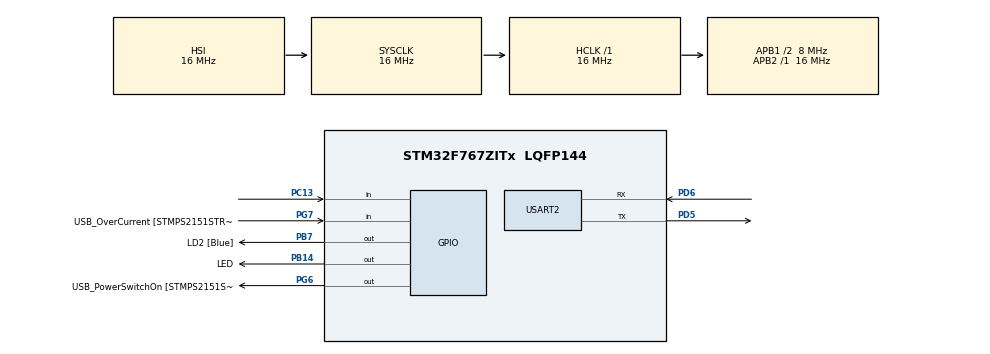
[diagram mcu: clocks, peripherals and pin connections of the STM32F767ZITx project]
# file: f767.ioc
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Mcu.Family=STM32F7
Mcu.Name=STM32F767ZITx
Mcu.Package=LQFP144
NVIC.PriorityGroup=NVIC_PRIORITYGROUP_4
NVIC.TIM1_UP_TIM10_IRQn=true\:0\:0\:false\:false\:true\:true\:true
PA1.GPIO_Label=RMII_REF_CLK [LAN8742A-CZ-TR_REFCLK0]
PA1.Signal=ETH_REF_CLK
PA10.GPIO_Label=USB_ID
PA10.Signal=USB_OTG_FS_ID
PA11.GPIO_Label=USB_DM
PA11.Signal=USB_OTG_FS_DM
PA12.GPIO_Label=USB_DP
PA12.Signal=USB_OTG_FS_DP
PA13.GPIO_Label=TMS
PA13.Mode=Serial_Wire
PA13.Signal=SYS_JTMS-SWDIO
PA14.GPIO_Label=TCK
PA14.Mode=Serial_Wire
PA14.Signal=SYS_JTCK-SWCLK
PA2.GPIO_Label=RMII_MDIO [LAN8742A-CZ-TR_MDIO]
PA2.Signal=ETH_MDIO
PA7.GPIO_Label=RMII_CRS_DV [LAN8742A-CZ-TR_CRS_DV]
PA7.Signal=ETH_CRS_DV
PA8.GPIO_Label=USB_SOF [TP1]
PA8.Signal=USB_OTG_FS_SOF
PA9.GPIO_Label=USB_VBUS
PA9.Signal=USB_OTG_FS_VBUS
PB13.GPIO_Label=RMII_TXD1 [LAN8742A-CZ-TR_TXD1]
PB13.Signal=ETH_TXD1
PB14.GPIO_Label=LED
PB14.Signal=GPIO_Output
PB3.GPIO_Label=SW0
PB3.Signal=SYS_JTDO-SWO
PB7.GPIO_Label=LD2 [Blue]
PB7.Signal=GPIO_Output
PC1.GPIO_Label=RMII_MDC [LAN8742A-CZ-TR_MDC]
PC1.Signal=ETH_MDC
PC13.Signal=GPIO_Input
PC14/OSC32_IN.Mode=LSE-External-Oscillator
PC14/OSC32_IN.Signal=RCC_OSC32_IN
PC15/OSC32_OUT.Mode=LSE-External-Oscillator
PC15/OSC32_OUT.Signal=RCC_OSC32_OUT
PC4.GPIO_Label=RMII_RXD0 [LAN8742A-CZ-TR_RXD0]
PC4.Signal=ETH_RXD0
PC5.GPIO_Label=RMII_RXD1 [LAN8742A-CZ-TR_RXD1]
PC5.Signal=ETH_RXD1
PD5.Mode=Asynchronous
PD5.Signal=USART2_TX
PD6.Mode=Asynchronous
PD6.Signal=USART2_RX
PD8.GPIO_Label=STLK_RX [STM32F103CBT6_PA3]
PD8.Signal=USART3_TX
PD9.GPIO_Label=STLK_TX [STM32F103CBT6_PA2]
PD9.Signal=USART3_RX
PG11.GPIO_Label=RMII_TX_EN [LAN8742A-CZ-TR_TXEN]
PG11.Signal=ETH_TX_EN
PG13.GPIO_Label=RMII_TXD0 [LAN8742A-CZ-TR_TXD0]
PG13.Signal=ETH_TXD0
PG6.GPIO_Label=USB_PowerSwitchOn [STMPS2151STR_EN]
PG6.Signal=GPIO_Output
PG7.GPIO_Label=USB_OverCurrent [STMPS2151STR_FAULT]
PG7.Signal=GPIO_Input
PH0/OSC_IN.GPIO_Label=MCO [STM32F103CBT6_PA8]
PH0/OSC_IN.Mode=HSE-External-Clock-Source
PH0/OSC_IN.Signal=RCC_OSC_IN
PH1/OSC_OUT.Mode=HSE-External-Clock-Source
PH1/OSC_OUT.Signal=RCC_OSC_OUT
ProjectManager.HeapSize=0x200
ProjectManager.StackSize=0x400
ProjectManager.TargetToolchain=MDK-ARM V5
RCC.48MHZClocksFreq_Value=24000000
RCC.AHBFreq_Value=16000000
RCC.APB1CLKDivider=RCC_HCLK_DIV2
RCC.APB1Freq_Value=8000000
RCC.APB1TimFreq_Value=16000000
RCC.APB2Freq_Value=16000000
RCC.APB2TimFreq_Value=16000000
RCC.CortexFreq_Value=16000000
RCC.HCLKFreq_Value=16000000
RCC.HSE_VALUE=16000000
RCC.HSI_VALUE=16000000
RCC.PLLMUL=RCC_PLL_MUL9
RCC.PRESCALERUSB=RCC_USBCLKSOURCE_PLL_DIV1_5
RCC.SYSCLKFreq_VALUE=16000000
RCC.SYSCLKSourceVirtual=RCC_SYSCLKSOURCE_PLLCLK
RCC.USBFreq_Value=96000000
RCC.VCOOutputFreq_Value=192000000
TIM1.Period=1000
TIM1.Prescaler=16000
USART2.VirtualMode-Asynchronous=VM_ASYNC
VP_TIM1_VS_ClockSourceINT.Mode=Internal
board=NUCLEO-F767ZI

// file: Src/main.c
/* USER CODE BEGIN Header */
/**
  ******************************************************************************
  * @file           : main.c
  * @brief          : Main program body
  ******************************************************************************
  * @attention
  *
  * <h2><center>&copy; Copyright (c) 2019 STMicroelectronics.
  * All rights reserved.</center></h2>
  *
  * This software component is licensed by ST under BSD 3-Clause license,
  * the "License"; You may not use this file except in compliance with the
  * License. You may obtain a copy of the License at:
  *                        opensource.org/licenses/BSD-3-Clause
  *
  ******************************************************************************
  */
/* USER CODE END Header */

#include "main.h"

/* USER CODE BEGIN Includes */
#include <string.h>
#include <stdarg.h>
#include <stdio.h>
/* USER CODE END Includes */

TIM_HandleTypeDef htim1;

UART_HandleTypeDef huart2;

void SystemClock_Config(void);
static void MX_GPIO_Init(void);
static void MX_USART2_UART_Init(void);
static void MX_TIM1_Init(void);

/* USER CODE BEGIN 0 */
uint8_t a = 0;

void UART_Printf(const char* fmt, ...) {
    char buff[256];
    va_list args;
    va_start(args, fmt);
    vsnprintf(buff, sizeof(buff), fmt, args);
    HAL_UART_Transmit(&huart2, (uint8_t*)buff, strlen(buff), HAL_MAX_DELAY);
    va_end(args);
}

void HAL_TIM_PeriodElapsedCallback(TIM_HandleTypeDef *htim)
{
	HAL_GPIO_TogglePin(LED_GPIO_Port, LED_Pin);
	UART_Printf("tick:%d\n\r", HAL_GetTick());
}
/* USER CODE END 0 */

int main(void)
{

  /* MCU Configuration--------------------------------------------------------*/

  /* Reset of all peripherals, Initializes the Flash interface and the Systick. */
  HAL_Init();

  /* Configure the system clock */
  SystemClock_Config();

  /* Initialize all configured peripherals */
  MX_GPIO_Init();
  MX_USART2_UART_Init();
  MX_TIM1_Init();
  /* USER CODE BEGIN 2 */
	HAL_TIM_Base_Start_IT(&htim1);

	UART_Printf("-----Ready-----\r\n");
  /* USER CODE END 2 */

  /* Infinite loop */
  while (1)
  {

  }
}

void SystemClock_Config(void)
{
  RCC_OscInitTypeDef RCC_OscInitStruct = {0};
  RCC_ClkInitTypeDef RCC_ClkInitStruct = {0};
  RCC_PeriphCLKInitTypeDef PeriphClkInitStruct = {0};

  /** Configure LSE Drive Capability
  */
  HAL_PWR_EnableBkUpAccess();
  /** Configure the main internal regulator output voltage
  */
  __HAL_RCC_PWR_CLK_ENABLE();
  __HAL_PWR_VOLTAGESCALING_CONFIG(PWR_REGULATOR_VOLTAGE_SCALE3);
  /** Initializes the CPU, AHB and APB busses clocks
  */
  RCC_OscInitStruct.OscillatorType = RCC_OSCILLATORTYPE_HSI;
  RCC_OscInitStruct.HSIState = RCC_HSI_ON;
  RCC_OscInitStruct.HSICalibrationValue = RCC_HSICALIBRATION_DEFAULT;
  RCC_OscInitStruct.PLL.PLLState = RCC_PLL_NONE;
  if (HAL_RCC_OscConfig(&RCC_OscInitStruct) != HAL_OK)
  {
    Error_Handler();
  }
  /** Initializes the CPU, AHB and APB busses clocks
  */
  RCC_ClkInitStruct.ClockType = RCC_CLOCKTYPE_HCLK|RCC_CLOCKTYPE_SYSCLK
                              |RCC_CLOCKTYPE_PCLK1|RCC_CLOCKTYPE_PCLK2;
  RCC_ClkInitStruct.SYSCLKSource = RCC_SYSCLKSOURCE_HSI;
  RCC_ClkInitStruct.AHBCLKDivider = RCC_SYSCLK_DIV1;
  RCC_ClkInitStruct.APB1CLKDivider = RCC_HCLK_DIV2;
  RCC_ClkInitStruct.APB2CLKDivider = RCC_HCLK_DIV1;

  if (HAL_RCC_ClockConfig(&RCC_ClkInitStruct, FLASH_LATENCY_0) != HAL_OK)
  {
    Error_Handler();
  }
  PeriphClkInitStruct.PeriphClockSelection = RCC_PERIPHCLK_USART2;
  PeriphClkInitStruct.Usart2ClockSelection = RCC_USART2CLKSOURCE_PCLK1;
  if (HAL_RCCEx_PeriphCLKConfig(&PeriphClkInitStruct) != HAL_OK)
  {
    Error_Handler();
  }
}

static void MX_TIM1_Init(void)
{

  TIM_ClockConfigTypeDef sClockSourceConfig = {0};
  TIM_MasterConfigTypeDef sMasterConfig = {0};

  htim1.Instance = TIM1;
  htim1.Init.Prescaler = 16000-1;
  htim1.Init.CounterMode = TIM_COUNTERMODE_UP;
  htim1.Init.Period = 1000-1;
  htim1.Init.ClockDivision = TIM_CLOCKDIVISION_DIV1;
  htim1.Init.RepetitionCounter = 0;
  htim1.Init.AutoReloadPreload = TIM_AUTORELOAD_PRELOAD_DISABLE;
  if (HAL_TIM_Base_Init(&htim1) != HAL_OK)
  {
    Error_Handler();
  }
  sClockSourceConfig.ClockSource = TIM_CLOCKSOURCE_INTERNAL;
  if (HAL_TIM_ConfigClockSource(&htim1, &sClockSourceConfig) != HAL_OK)
  {
    Error_Handler();
  }
  sMasterConfig.MasterOutputTrigger = TIM_TRGO_RESET;
  sMasterConfig.MasterOutputTrigger2 = TIM_TRGO2_RESET;
  sMasterConfig.MasterSlaveMode = TIM_MASTERSLAVEMODE_DISABLE;
  if (HAL_TIMEx_MasterConfigSynchronization(&htim1, &sMasterConfig) != HAL_OK)
  {
    Error_Handler();
  }

}

static void MX_USART2_UART_Init(void)
{

  huart2.Instance = USART2;
  huart2.Init.BaudRate = 115200;
  huart2.Init.WordLength = UART_WORDLENGTH_8B;
  huart2.Init.StopBits = UART_STOPBITS_1;
  huart2.Init.Parity = UART_PARITY_NONE;
  huart2.Init.Mode = UART_MODE_TX_RX;
  huart2.Init.HwFlowCtl = UART_HWCONTROL_NONE;
  huart2.Init.OverSampling = UART_OVERSAMPLING_16;
  huart2.Init.OneBitSampling = UART_ONE_BIT_SAMPLE_DISABLE;
  huart2.AdvancedInit.AdvFeatureInit = UART_ADVFEATURE_NO_INIT;
  if (HAL_UART_Init(&huart2) != HAL_OK)
  {
    Error_Handler();
  }

}

static void MX_GPIO_Init(void)
{
  GPIO_InitTypeDef GPIO_InitStruct = {0};

  /* GPIO Ports Clock Enable */
  __HAL_RCC_GPIOC_CLK_ENABLE();
  __HAL_RCC_GPIOH_CLK_ENABLE();
  __HAL_RCC_GPIOA_CLK_ENABLE();
  __HAL_RCC_GPIOB_CLK_ENABLE();
  __HAL_RCC_GPIOD_CLK_ENABLE();
  __HAL_RCC_GPIOG_CLK_ENABLE();

  /*Configure GPIO pin Output Level */
  HAL_GPIO_WritePin(GPIOB, LED_Pin|LD2_Pin, GPIO_PIN_RESET);

  /*Configure GPIO pin Output Level */
  HAL_GPIO_WritePin(USB_PowerSwitchOn_GPIO_Port, USB_PowerSwitchOn_Pin, GPIO_PIN_RESET);

  /*Configure GPIO pin : PC13 */
  GPIO_InitStruct.Pin = GPIO_PIN_13;
  GPIO_InitStruct.Mode = GPIO_MODE_INPUT;
  GPIO_InitStruct.Pull = GPIO_NOPULL;
  HAL_GPIO_Init(GPIOC, &GPIO_InitStruct);

  /*Configure GPIO pins : RMII_MDC_Pin RMII_RXD0_Pin RMII_RXD1_Pin */
  GPIO_InitStruct.Pin = RMII_MDC_Pin|RMII_RXD0_Pin|RMII_RXD1_Pin;
  GPIO_InitStruct.Mode = GPIO_MODE_AF_PP;
  GPIO_InitStruct.Pull = GPIO_NOPULL;
  GPIO_InitStruct.Speed = GPIO_SPEED_FREQ_VERY_HIGH;
  GPIO_InitStruct.Alternate = GPIO_AF11_ETH;
  HAL_GPIO_Init(GPIOC, &GPIO_InitStruct);

  /*Configure GPIO pins : RMII_REF_CLK_Pin RMII_MDIO_Pin RMII_CRS_DV_Pin */
  GPIO_InitStruct.Pin = RMII_REF_CLK_Pin|RMII_MDIO_Pin|RMII_CRS_DV_Pin;
  GPIO_InitStruct.Mode = GPIO_MODE_AF_PP;
  GPIO_InitStruct.Pull = GPIO_NOPULL;
  GPIO_InitStruct.Speed = GPIO_SPEED_FREQ_VERY_HIGH;
  GPIO_InitStruct.Alternate = GPIO_AF11_ETH;
  HAL_GPIO_Init(GPIOA, &GPIO_InitStruct);

  /*Configure GPIO pin : RMII_TXD1_Pin */
  GPIO_InitStruct.Pin = RMII_TXD1_Pin;
  GPIO_InitStruct.Mode = GPIO_MODE_AF_PP;
  GPIO_InitStruct.Pull = GPIO_NOPULL;
  GPIO_InitStruct.Speed = GPIO_SPEED_FREQ_VERY_HIGH;
  GPIO_InitStruct.Alternate = GPIO_AF11_ETH;
  HAL_GPIO_Init(RMII_TXD1_GPIO_Port, &GPIO_InitStruct);

  /*Configure GPIO pins : LED_Pin LD2_Pin */
  GPIO_InitStruct.Pin = LED_Pin|LD2_Pin;
  GPIO_InitStruct.Mode = GPIO_MODE_OUTPUT_PP;
  GPIO_InitStruct.Pull = GPIO_NOPULL;
  GPIO_InitStruct.Speed = GPIO_SPEED_FREQ_LOW;
  HAL_GPIO_Init(GPIOB, &GPIO_InitStruct);

  /*Configure GPIO pins : STLK_RX_Pin STLK_TX_Pin */
  GPIO_InitStruct.Pin = STLK_RX_Pin|STLK_TX_Pin;
  GPIO_InitStruct.Mode = GPIO_MODE_AF_PP;
  GPIO_InitStruct.Pull = GPIO_NOPULL;
  GPIO_InitStruct.Speed = GPIO_SPEED_FREQ_VERY_HIGH;
  GPIO_InitStruct.Alternate = GPIO_AF7_USART3;
  HAL_GPIO_Init(GPIOD, &GPIO_InitStruct);

  /*Configure GPIO pin : USB_PowerSwitchOn_Pin */
  GPIO_InitStruct.Pin = USB_PowerSwitchOn_Pin;
  GPIO_InitStruct.Mode = GPIO_MODE_OUTPUT_PP;
  GPIO_InitStruct.Pull = GPIO_NOPULL;
  GPIO_InitStruct.Speed = GPIO_SPEED_FREQ_LOW;
  HAL_GPIO_Init(USB_PowerSwitchOn_GPIO_Port, &GPIO_InitStruct);

  /*Configure GPIO pin : USB_OverCurrent_Pin */
  GPIO_InitStruct.Pin = USB_OverCurrent_Pin;
  GPIO_InitStruct.Mode = GPIO_MODE_INPUT;
  GPIO_InitStruct.Pull = GPIO_NOPULL;
  HAL_GPIO_Init(USB_OverCurrent_GPIO_Port, &GPIO_InitStruct);

  /*Configure GPIO pins : USB_SOF_Pin USB_ID_Pin USB_DM_Pin USB_DP_Pin */
  GPIO_InitStruct.Pin = USB_SOF_Pin|USB_ID_Pin|USB_DM_Pin|USB_DP_Pin;
  GPIO_InitStruct.Mode = GPIO_MODE_AF_PP;
  GPIO_InitStruct.Pull = GPIO_NOPULL;
  GPIO_InitStruct.Speed = GPIO_SPEED_FREQ_VERY_HIGH;
  GPIO_InitStruct.Alternate = GPIO_AF10_OTG_FS;
  HAL_GPIO_Init(GPIOA, &GPIO_InitStruct);

  /*Configure GPIO pin : USB_VBUS_Pin */
  GPIO_InitStruct.Pin = USB_VBUS_Pin;
  GPIO_InitStruct.Mode = GPIO_MODE_INPUT;
  GPIO_InitStruct.Pull = GPIO_NOPULL;
  HAL_GPIO_Init(USB_VBUS_GPIO_Port, &GPIO_InitStruct);

  /*Configure GPIO pins : RMII_TX_EN_Pin RMII_TXD0_Pin */
  GPIO_InitStruct.Pin = RMII_TX_EN_Pin|RMII_TXD0_Pin;
  GPIO_InitStruct.Mode = GPIO_MODE_AF_PP;
  GPIO_InitStruct.Pull = GPIO_NOPULL;
  GPIO_InitStruct.Speed = GPIO_SPEED_FREQ_VERY_HIGH;
  GPIO_InitStruct.Alternate = GPIO_AF11_ETH;
  HAL_GPIO_Init(GPIOG, &GPIO_InitStruct);

}

void Error_Handler(void)
{
}

/************************ (C) COPYRIGHT STMicroelectronics *****END OF FILE****/
